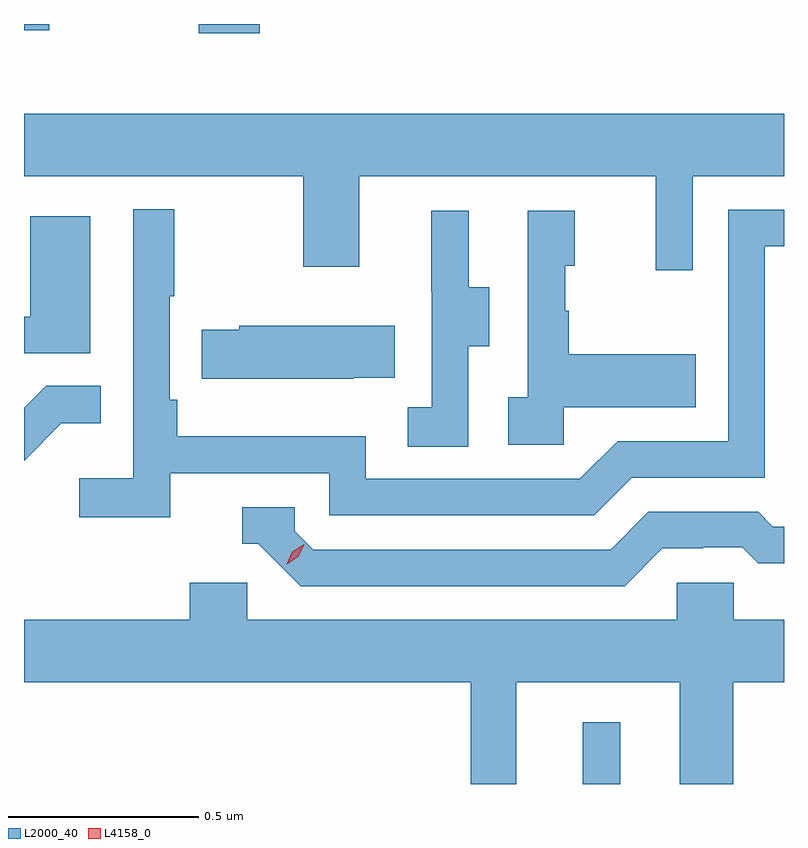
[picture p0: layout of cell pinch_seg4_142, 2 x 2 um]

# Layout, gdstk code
import gdstk
lib = gdstk.Library(unit=1e-6, precision=1e-09)
def R(c, l, rs):  # rectangles x0, y0, x1, y1
    for r in rs: c.add(gdstk.rectangle(r[:2], r[2:], *l))
def P(c, l, *ps):  # polygons
    for p in ps: c.add(gdstk.Polygon(p, *l))
L2000_40 = (2000, 40)
L4158_0 = (4158, 0)

pinch_seg4_142 = lib.new_cell('pinch_seg4_142')
R(pinch_seg4_142, L2000_40, [(1083.2,807.208,1083.298,807.37), (1082.189,809.184,1082.35,809.208), (1081.729,809.192,1081.795,809.208)])
P(pinch_seg4_142, L2000_40, [(1083.489,808.808),(1083.729,808.808),(1083.729,808.972),(1081.729,808.972),(1081.729,808.808),(1082.464,808.808),(1082.464,808.569),(1082.611,808.569),(1082.611,808.808),(1083.392,808.808),(1083.392,808.56),(1083.489,808.56)],
  [(1082.114,808.026),(1082.532,808.026),(1082.532,807.915),(1083.229,807.915),(1083.328,808.014),(1083.678,808.014),(1083.678,808.623),(1083.729,808.623),(1083.729,808.719),(1083.582,808.719),(1083.582,808.11),(1083.291,808.11),(1083.192,808.011),(1082.628,808.011),(1082.628,808.123),(1082.132,808.123),(1082.132,808.219),(1082.112,808.219),(1082.112,808.492),(1082.125,808.492),(1082.125,808.72),(1082.016,808.72),(1082.016,808.012),(1081.875,808.012),(1081.875,807.91),(1082.114,807.91)],
  [(1083.15,808.199),(1083.497,808.199),(1083.497,808.339),(1083.163,808.339),(1083.163,808.454),(1083.153,808.454),(1083.153,808.572),(1083.178,808.572),(1083.178,808.717),(1083.054,808.717),(1083.054,808.226),(1083.003,808.226),(1083.003,808.101),(1083.15,808.101)],
  [(1082.898,808.36),(1082.953,808.36),(1082.953,808.515),(1082.899,808.515),(1082.899,808.717),(1082.801,808.717),(1082.801,808.503),(1082.802,808.503),(1082.802,808.199),(1082.739,808.199),(1082.739,808.096),(1082.898,808.096)],
  [(1081.903,808.702),(1081.745,808.702),(1081.745,808.437),(1081.729,808.437),(1081.729,808.341),(1081.903,808.341)],
  [(1082.597,808.277),(1082.705,808.277),(1082.705,808.414),(1082.295,808.414),(1082.295,808.404),(1082.197,808.404),(1082.197,808.274),(1082.597,808.274)],
  [(1081.827,808.157),(1081.931,808.157),(1081.931,808.256),(1081.787,808.256),(1081.729,808.198),(1081.729,808.059)],
  [(1083.409,807.828),(1083.516,807.828),(1083.516,807.831),(1083.619,807.831),(1083.661,807.789),(1083.729,807.789),(1083.729,807.885),(1083.7,807.885),(1083.661,807.924),(1083.372,807.924),(1083.273,807.825),(1082.49,807.825),(1082.442,807.873),(1082.442,807.936),(1082.303,807.936),(1082.303,807.84),(1082.346,807.84),(1082.457,807.729),(1083.31,807.729)],
  [(1083.025,807.476),(1083.455,807.476),(1083.455,807.208),(1083.595,807.208),(1083.595,807.476),(1083.729,807.476),(1083.729,807.64),(1083.597,807.64),(1083.597,807.738),(1083.447,807.738),(1083.447,807.64),(1082.316,807.64),(1082.316,807.738),(1082.165,807.738),(1082.165,807.64),(1081.729,807.64),(1081.729,807.476),(1082.904,807.476),(1082.904,807.208),(1083.025,807.208)])
P(pinch_seg4_142, L4158_0, [(1082.42,807.786),(1082.42,807.786),(1082.435,807.819),(1082.466,807.839),(1082.466,807.839),(1082.466,807.839),(1082.451,807.806),(1082.42,807.786)])

lib.write_gds('pinch_seg4_142.gds')
